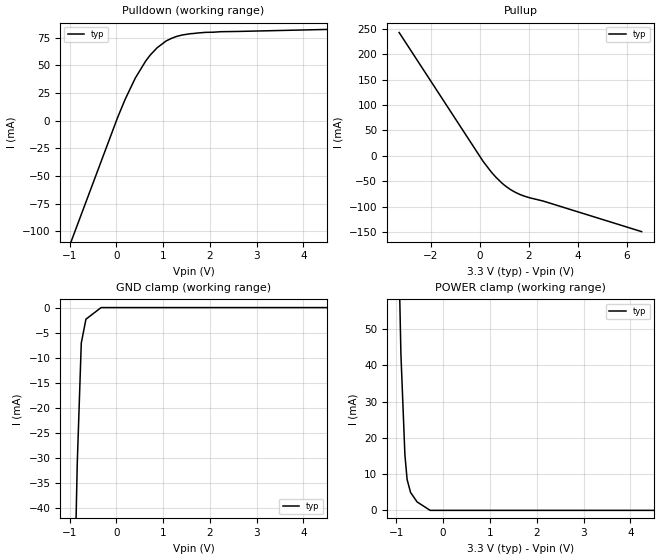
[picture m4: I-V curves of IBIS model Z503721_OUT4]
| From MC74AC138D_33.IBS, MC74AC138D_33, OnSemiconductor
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| (C) COPYRIGHT 1993-2000
| MENTOR GRAPHICS CORPORATION
| ICX STANDARD LIBRARY, ICX PROJECT MODELING,
| ICX CUSTOM MODELING, ICX VENDOR MODEL
| ALL RIGHTS RESERVED.
| THE FOLLOWING ARE TRADEMARKS OR SERVICE MARKS OF
| MENTOR GRAPHICS CORPORATION:ICX (R), ICX STANDARD
| LIBRARY(R), ICX PROJECT MODELING(R), ICX CUSTOM
| MODELING(R), qualityIBIS(TM), MODELVIEWER(TM),
| AND MODELEDITOR(TM)
| ALL COPIES OF SOFTWARE, INCLUDING BUT NOT LIMITED TO
| ANY MODIFICATIONS, ENHANCEMENTS OR DERIVATIVE WORKS,
| MUST CONTAIN ALL MENTOR GRAPHICS CORPORATION'S
| NOTICES AND LEGENDS, INCLUDING THOSE EMBEDDED IN
| SOFTWARE AND THOSE AFFIXED TO SOFTWARE MEDIUM
| AND CONTAINER, AS RECEIVED FROM MENTOR GRAPHICS
| CORPORATION.
| Model Application Version 1.89 2/18/99.
[Model] Z503721_OUT4
Model_type Output
Vref=0.000V
Rref=500.0ohms
Cref=50.00pF
Vmeas=1.650V
C_comp 8.000pF NA NA
| variable typ   min   max
[Voltage Range] 3.300V NA NA
[POWER Clamp Reference] 3.300V NA NA
[Pullup Reference] 3.300V NA NA
[Pulldown Reference] 0.000V NA NA
[GND Clamp Reference] 0.000V NA NA
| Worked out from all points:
|   slope of the pulldown table from 0 to 0.495 V, typ, clamps not added: 11 ohm
|   slope of the pullup table from 0 to 0.495 V, typ, clamps not added: 15.3 ohm
[GND Clamp]
-3.3V     -922.5mA   NA         NA
-1.008V   -106.8mA   NA         NA
-834.4mV  -31.18mA   NA         NA
-748.6mV  -7.105mA   NA         NA
-649.1mV  -2.324mA   NA         NA
-324.6mV  0A         NA         NA
6.6V      0A         NA         NA
[Pulldown]
-3.3V     -372.6mA   NA         NA
24.91mV   2.656mA    NA         NA
187.2mV   19.23mA    NA         NA
405.5mV   38.58mA    NA         NA
626.7mV   53.91mA    NA         NA
722.7mV   59.28mA    NA         NA
870.9mV   65.93mA    NA         NA
1.065V    72.15mA    NA         NA
1.183V    74.55mA    NA         NA
1.401V    77.44mA    NA         NA
1.895V    79.87mA    NA         NA
6.6V      84.53mA    NA         NA
[Pullup]
-3.3V     242.4mA    NA         NA
127mV     -10.84mA   NA         NA
654mV     -42.26mA   NA         NA
1.011V    -58.31mA   NA         NA
1.416V    -71.11mA   NA         NA
1.826V    -79.56mA   NA         NA
2.577V    -88.91mA   NA         NA
6.6V      -149.1mA   NA         NA
[POWER Clamp]
-3.3V     1.922A     NA         NA
-1.04V    127mA      NA         NA
-903mV    43.03mA    NA         NA
-818mV    15.34mA    NA         NA
-771mV    8.515mA    NA         NA
-697mV    4.943mA    NA         NA
-557mV    2.318mA    NA         NA
-278.5mV  0A         NA         NA
6.6V      0A         NA         NA
[Ramp]
| variable typ min max
dV/dt_r 1.939/332.3p NA NA
dV/dt_f 1.939/416.1p NA NA
R_load = 500.0Ohms
